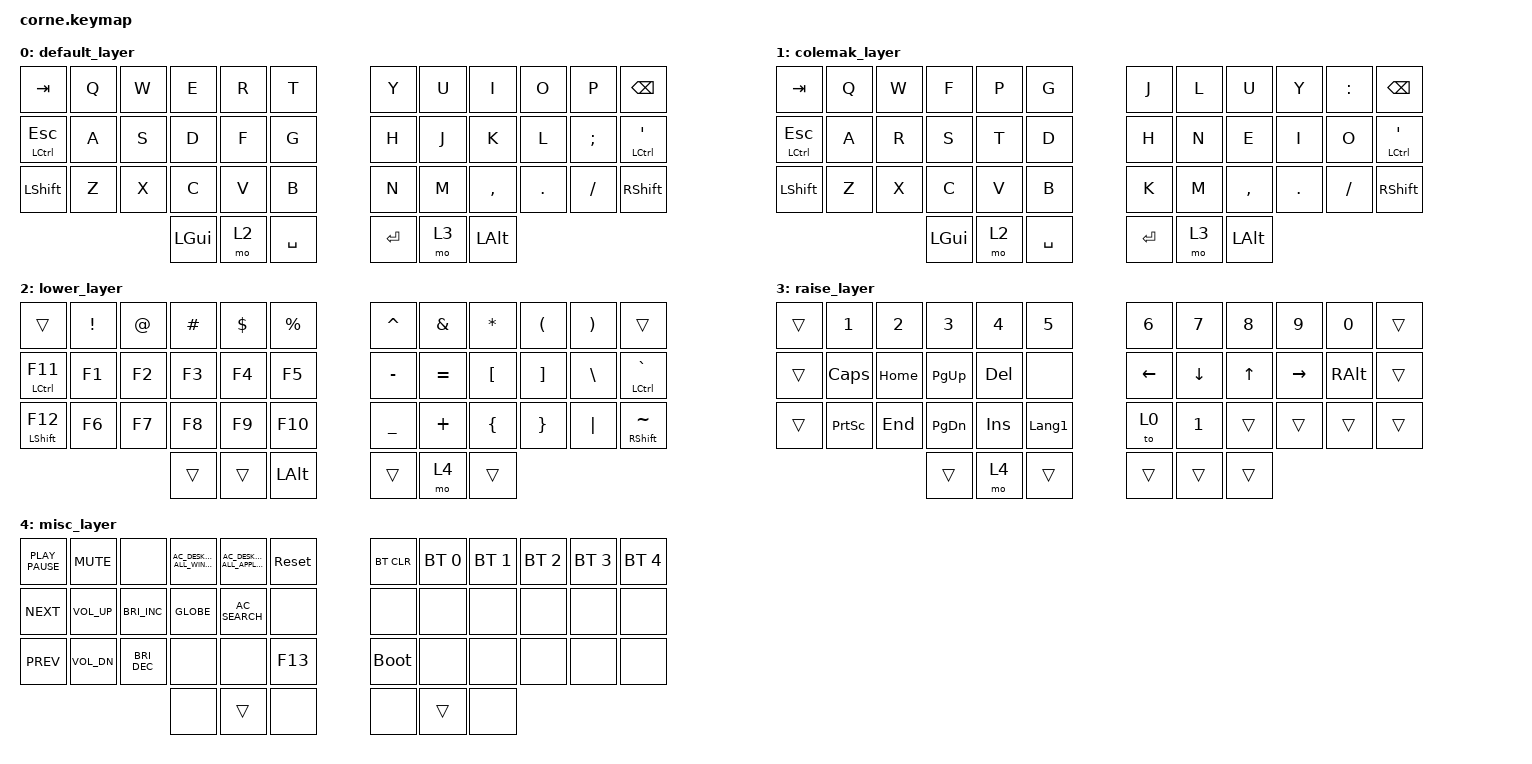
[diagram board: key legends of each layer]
/*
 * Copyright (c) 2020 The ZMK Contributors
 *
 * SPDX-License-Identifier: MIT
 */

#include <behaviors.dtsi>
#include <dt-bindings/zmk/bt.h>
#include <dt-bindings/zmk/keys.h>

#define DEFAULT 0
#define COLEMAK 1
#define LOWER   2
#define RAISE   3
#define MISC    4

/ {
    macros {
        new_macro: new_macro {
            compatible = "zmk,behavior-macro";
            #binding-cells = <0>;
            bindings =
                <&kp F24>,
                <&macro_press>,
                <&kp LEFT_CONTROL &kp LEFT_SHIFT &kp RIGHT_BRACKET>;

            label = "NEW_MACRO";
        };
    };

    keymap {
        compatible = "zmk,keymap";

        default_layer {
            bindings = <
&kp TAB        &kp Q  &kp W  &kp E     &kp R  &kp T        &kp Y    &kp U  &kp I      &kp O    &kp P     &kp BSPC
&mt LCTRL ESC  &kp A  &kp S  &kp D     &kp F  &kp G        &kp H    &kp J  &kp K      &kp L    &kp SEMI  &mt LCTRL SQT
&kp LSHFT      &kp Z  &kp X  &kp C     &kp V  &kp B        &kp N    &kp M  &kp COMMA  &kp DOT  &kp FSLH  &kp RSHFT
                             &kp LGUI  &mo 2  &kp SPACE    &kp RET  &mo 3  &kp LALT
            >;
        };

        colemak_layer {
            bindings = <
&kp TAB        &kp Q  &kp W  &kp F     &kp P  &kp G        &kp J    &kp L  &kp U      &kp Y       &kp COLON  &kp BSPC
&mt LCTRL ESC  &kp A  &kp R  &kp S     &kp T  &kp D        &kp H    &kp N  &kp E      &kp I       &kp O      &mt LCTRL SQT
&kp LSHFT      &kp Z  &kp X  &kp C     &kp V  &kp B        &kp K    &kp M  &kp COMMA  &kp PERIOD  &kp SLASH  &kp RSHFT
                             &kp LGUI  &mo 2  &kp SPACE    &kp RET  &mo 3  &kp LALT
            >;
        };

        lower_layer {
            bindings = <
&trans          &kp EXCL  &kp AT  &kp HASH  &kp DLLR  &kp PRCNT       &kp CARET  &kp AMPS   &kp ASTRK  &kp LPAR  &kp RPAR  &trans
&mt LCTRL F11   &kp F1    &kp F2  &kp F3    &kp F4    &kp F5          &kp MINUS  &kp EQUAL  &kp LBKT   &kp RBKT  &kp BSLH  &mt LEFT_CONTROL GRAVE
&mt LSHIFT F12  &kp F6    &kp F7  &kp F8    &kp F9    &kp F10         &kp UNDER  &kp PLUS   &kp LBRC   &kp RBRC  &kp PIPE  &mt RIGHT_SHIFT TILDE
                                  &trans    &trans    &kp LEFT_ALT    &trans     &mo 4      &trans
            >;
        };

        raise_layer {
            bindings = <
&trans  &kp N1     &kp N2    &kp N3         &kp N4      &kp N5            &kp N6          &kp N7          &kp N8  &kp N9           &kp N0         &trans
&trans  &kp CAPS   &kp HOME  &kp PG_UP      &kp DELETE  &none             &kp LEFT_ARROW  &kp DOWN_ARROW  &kp UP  &kp RIGHT_ARROW  &kp RIGHT_ALT  &trans
&trans  &kp PSCRN  &kp END   &kp PAGE_DOWN  &kp INS     &kp LANGUAGE_1    &to 0           &kp NUMBER_1    &trans  &trans           &trans         &trans
                             &trans         &mo 4       &trans            &trans          &trans          &trans
            >;
        };

        misc_layer {
            bindings = <
&kp K_PLAY_PAUSE  &kp K_MUTE    &none          &kp C_AC_DESKTOP_SHOW_ALL_WINDOWS  &kp C_AC_DESKTOP_SHOW_ALL_APPLICATIONS  &sys_reset    &bt BT_CLR   &bt BT_SEL 0  &bt BT_SEL 1  &bt BT_SEL 2  &bt BT_SEL 3  &bt BT_SEL 4
&kp K_NEXT        &kp K_VOL_UP  &kp C_BRI_INC  &kp GLOBE                          &kp C_AC_SEARCH                         &none         &none        &none         &none         &none         &none         &none
&kp K_PREV        &kp K_VOL_DN  &kp C_BRI_DEC  &none                              &none                                   &kp F13       &bootloader  &none         &none         &none         &none         &none
                                               &none                              &trans                                  &none         &none        &trans        &none
            >;
        };
    };
};
